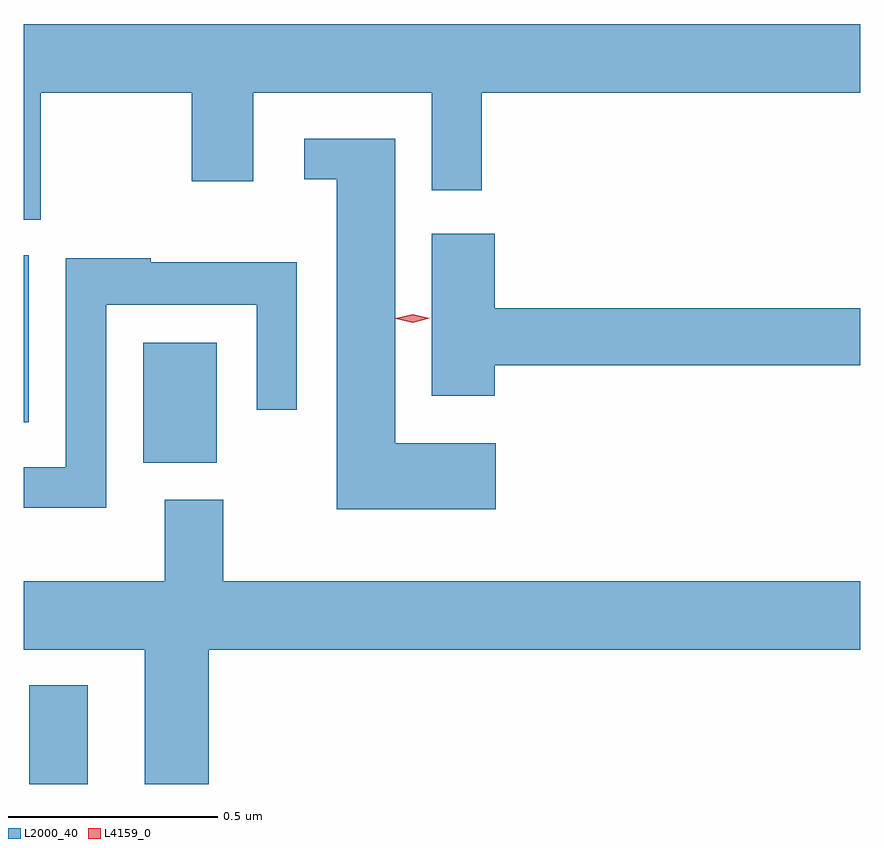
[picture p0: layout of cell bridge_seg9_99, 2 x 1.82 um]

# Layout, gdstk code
import gdstk
lib = gdstk.Library(unit=1e-6, precision=1e-09)
def R(c, l, rs):  # rectangles x0, y0, x1, y1
    for r in rs: c.add(gdstk.rectangle(r[:2], r[2:], *l))
def P(c, l, *ps):  # polygons
    for p in ps: c.add(gdstk.Polygon(p, *l))
L2000_40 = (2000, 40)
L4159_0 = (4159, 0)

bridge_seg9_99 = lib.new_cell('bridge_seg9_99')
R(bridge_seg9_99, L2000_40, [(645.905,1217.411,646.045,1217.647), (646.178,1218.179,646.354,1218.466), (645.892,1218.276,645.904,1218.675)])
P(bridge_seg9_99, L2000_40, [(645.933,1219.064),(646.294,1219.064),(646.294,1218.852),(646.441,1218.852),(646.441,1219.064),(646.868,1219.064),(646.868,1218.831),(646.987,1218.831),(646.987,1219.064),(647.892,1219.064),(647.892,1219.228),(645.892,1219.228),(645.892,1218.76),(645.933,1218.76)],
  [(647.02,1218.226),(646.78,1218.226),(646.78,1218.954),(646.563,1218.954),(646.563,1218.857),(646.64,1218.857),(646.64,1218.068),(647.02,1218.068)],
  [(647.018,1218.412),(647.892,1218.412),(647.892,1218.548),(647.018,1218.548),(647.018,1218.727),(646.868,1218.727),(646.868,1218.339),(647.018,1218.339)],
  [(646.089,1218.557),(646.449,1218.557),(646.449,1218.306),(646.545,1218.306),(646.545,1218.658),(646.196,1218.658),(646.196,1218.668),(645.993,1218.668),(645.993,1218.168),(645.892,1218.168),(645.892,1218.071),(646.089,1218.071)],
  [(646.334,1217.732),(647.892,1217.732),(647.892,1217.896),(646.369,1217.896),(646.369,1218.091),(646.229,1218.091),(646.229,1217.896),(645.892,1217.896),(645.892,1217.732),(646.181,1217.732),(646.181,1217.411),(646.334,1217.411)])
P(bridge_seg9_99, L4159_0, [(646.822,1218.514),(646.782,1218.523),(646.782,1218.523),(646.782,1218.524),(646.822,1218.534),(646.863,1218.524),(646.863,1218.524),(646.863,1218.524)])

lib.write_gds('bridge_seg9_99.gds')
